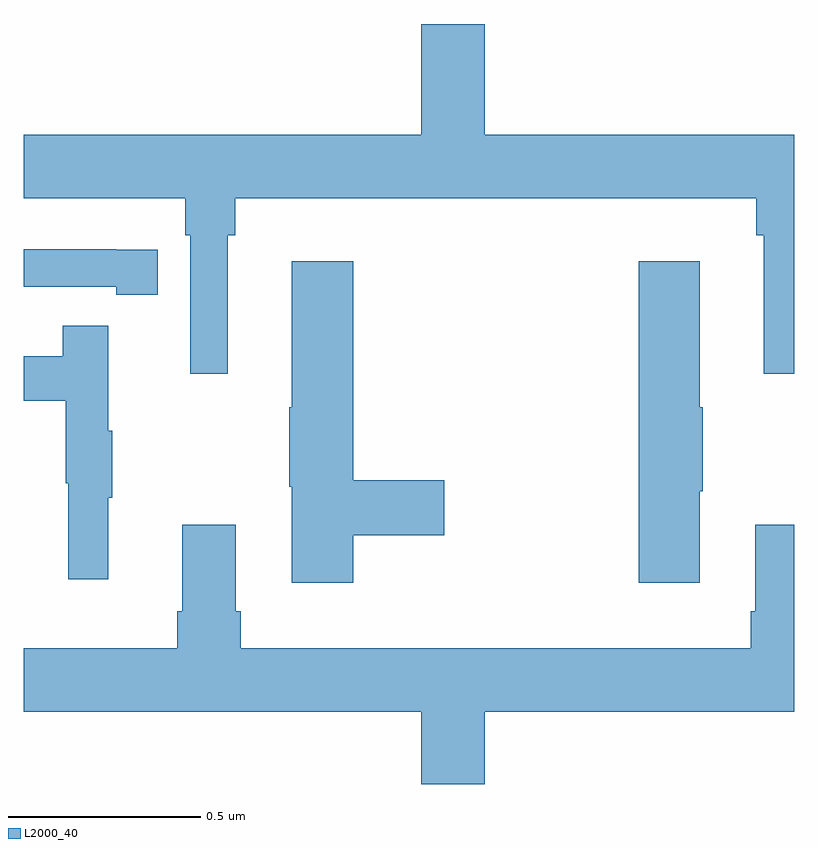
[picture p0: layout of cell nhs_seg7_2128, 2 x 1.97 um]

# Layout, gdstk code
import gdstk
lib = gdstk.Library(unit=1e-6, precision=1e-09)
def P(c, l, *ps):  # polygons
    for p in ps: c.add(gdstk.Polygon(p, *l))
L2000_40 = (2000, 40)

nhs_seg7_2128 = lib.new_cell('nhs_seg7_2128')
P(nhs_seg7_2128, L2000_40, [(140.53,1068.452),(140.549,1068.452),(140.549,1068.548),(141.901,1068.548),(141.901,1068.452),(141.92,1068.452),(141.92,1068.093),(142,1068.093),(142,1068.712),(141.196,1068.712),(141.196,1069),(141.032,1069),(141.032,1068.712),(140,1068.712),(140,1068.548),(140.42,1068.548),(140.42,1068.452),(140.433,1068.452),(140.433,1068.093),(140.53,1068.093)],
  [(140.348,1068.414),(140.24,1068.414),(140.24,1068.415),(140,1068.415),(140,1068.318),(140.24,1068.318),(140.24,1068.298),(140.348,1068.298)],
  [(140.855,1067.674),(141.091,1067.674),(141.091,1067.816),(140.855,1067.816),(140.855,1068.385),(140.696,1068.385),(140.696,1068.005),(140.689,1068.005),(140.689,1067.799),(140.696,1067.799),(140.696,1067.55),(140.855,1067.55)],
  [(141.754,1067.788),(141.762,1067.788),(141.762,1068.005),(141.754,1068.005),(141.754,1068.385),(141.596,1068.385),(141.596,1067.55),(141.754,1067.55)],
  [(140.219,1067.771),(140.23,1067.771),(140.23,1067.945),(140.219,1067.945),(140.219,1068.217),(140.101,1068.217),(140.101,1068.138),(140,1068.138),(140,1068.022),(140.109,1068.022),(140.109,1067.808),(140.116,1067.808),(140.116,1067.559),(140.219,1067.559)],
  [(141.196,1067.216),(142,1067.216),(142,1067.701),(141.899,1067.701),(141.899,1067.476),(141.887,1067.476),(141.887,1067.38),(140.564,1067.38),(140.564,1067.476),(140.551,1067.476),(140.551,1067.701),(140.411,1067.701),(140.411,1067.476),(140.399,1067.476),(140.399,1067.38),(140,1067.38),(140,1067.216),(141.032,1067.216),(141.032,1067.028),(141.196,1067.028)])

lib.write_gds('nhs_seg7_2128.gds')
